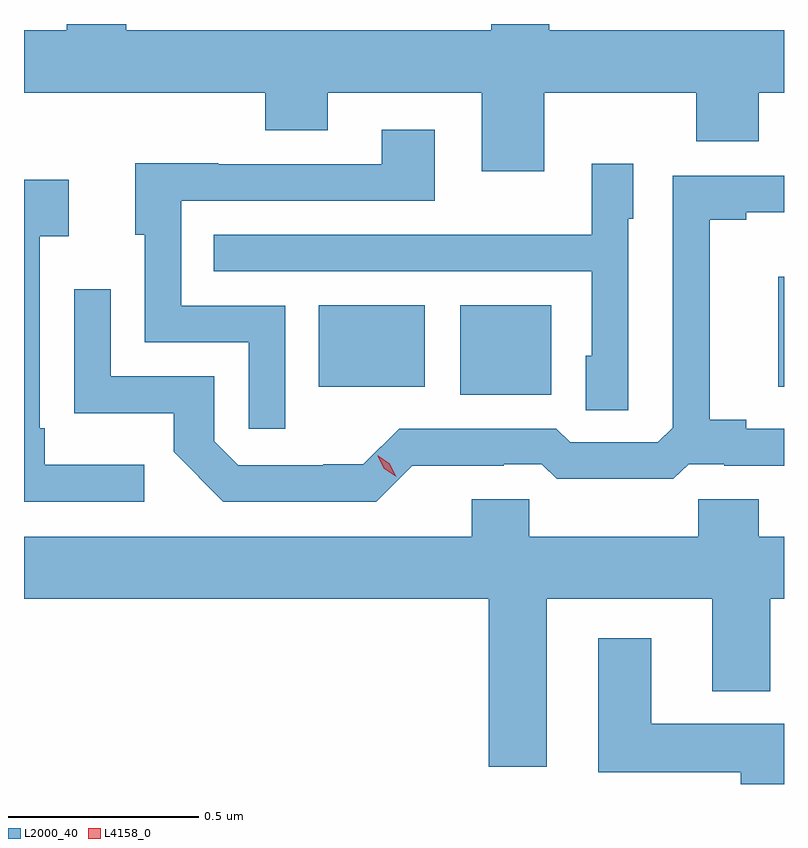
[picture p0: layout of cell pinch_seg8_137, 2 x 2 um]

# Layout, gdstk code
import gdstk
lib = gdstk.Library(unit=1e-6, precision=1e-09)
def R(c, l, rs):  # rectangles x0, y0, x1, y1
    for r in rs: c.add(gdstk.rectangle(r[:2], r[2:], *l))
def P(c, l, *ps):  # polygons
    for p in ps: c.add(gdstk.Polygon(p, *l))
L2000_40 = (2000, 40)
L4158_0 = (4158, 0)

pinch_seg8_137 = lib.new_cell('pinch_seg8_137')
R(pinch_seg8_137, L2000_40, [(772.682,1159.661,772.921,1159.897), (772.31,1159.682,772.588,1159.897), (773.519,1159.682,773.534,1159.972)])
P(pinch_seg8_137, L2000_40, [(772.903,1160.456),(773.303,1160.456),(773.303,1160.328),(773.467,1160.328),(773.467,1160.456),(773.534,1160.456),(773.534,1160.62),(772.916,1160.62),(772.916,1160.637),(772.763,1160.637),(772.763,1160.62),(771.803,1160.62),(771.803,1160.637),(771.647,1160.637),(771.647,1160.62),(771.534,1160.62),(771.534,1160.456),(772.169,1160.456),(772.169,1160.357),(772.333,1160.357),(772.333,1160.456),(772.739,1160.456),(772.739,1160.25),(772.903,1160.25)],
  [(772.221,1159.896),(771.948,1159.896),(771.948,1160.172),(772.615,1160.172),(772.615,1160.359),(772.475,1160.359),(772.475,1160.268),(772.045,1160.268),(772.045,1160.27),(771.827,1160.27),(771.827,1160.082),(771.852,1160.082),(771.852,1159.8),(772.125,1159.8),(772.125,1159.572),(772.221,1159.572)],
  [(773.124,1160.124),(773.137,1160.124),(773.137,1160.269),(773.028,1160.269),(773.028,1160.083),(772.711,1160.083),(772.711,1160.082),(772.033,1160.082),(772.033,1159.986),(773.028,1159.986),(773.028,1159.764),(773.012,1159.764),(773.012,1159.621),(773.124,1159.621)],
  [(772.556,1159.475),(772.796,1159.475),(772.796,1159.479),(772.896,1159.479),(772.936,1159.44),(773.243,1159.44),(773.283,1159.479),(773.377,1159.479),(773.377,1159.475),(773.534,1159.475),(773.534,1159.572),(773.434,1159.572),(773.434,1159.595),(773.339,1159.595),(773.339,1160.122),(773.434,1160.122),(773.434,1160.142),(773.534,1160.142),(773.534,1160.238),(773.241,1160.238),(773.241,1159.575),(773.202,1159.536),(772.971,1159.536),(772.935,1159.572),(772.521,1159.572),(772.427,1159.478),(772.322,1159.478),(772.322,1159.476),(772.098,1159.476),(772.035,1159.539),(772.035,1159.71),(771.762,1159.71),(771.762,1159.939),(771.666,1159.939),(771.666,1159.613),(771.928,1159.613),(771.928,1159.511),(772.058,1159.38),(772.461,1159.38)],
  [(771.85,1159.477),(771.589,1159.477),(771.589,1159.573),(771.576,1159.573),(771.576,1160.078),(771.652,1160.078),(771.652,1160.227),(771.534,1160.227),(771.534,1159.38),(771.85,1159.38)],
  [(772.863,1159.386),(772.712,1159.386),(772.712,1159.288),(771.534,1159.288),(771.534,1159.124),(772.757,1159.124),(772.757,1158.683),(772.909,1158.683),(772.909,1159.124),(773.345,1159.124),(773.345,1158.881),(773.498,1158.881),(773.498,1159.124),(773.534,1159.124),(773.534,1159.288),(773.468,1159.288),(773.468,1159.386),(773.308,1159.386),(773.308,1159.288),(772.863,1159.288)],
  [(773.534,1158.796),(773.185,1158.796),(773.185,1159.021),(773.045,1159.021),(773.045,1158.668),(773.42,1158.668),(773.42,1158.637),(773.534,1158.637)])
P(pinch_seg8_137, L4158_0, [(772.513,1159.446),(772.482,1159.467),(772.465,1159.5),(772.465,1159.501),(772.466,1159.501),(772.497,1159.48),(772.513,1159.446),(772.513,1159.446)])

lib.write_gds('pinch_seg8_137.gds')
